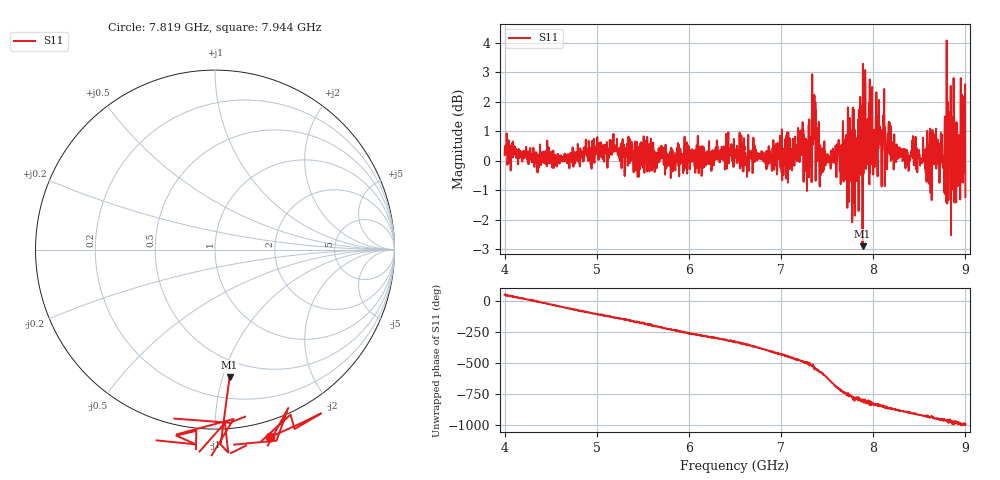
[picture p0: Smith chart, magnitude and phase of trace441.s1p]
! Created with skrf 1.8.0 (http://scikit-rf.org).
# Hz S RI R 50.0
!freq ReS11 ImS11
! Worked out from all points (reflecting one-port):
!   1601 points, 4 GHz to 9 GHz, reference 50 ohm
!   lowest |S11| = -2.9 dB at 7.884 GHz (marker M1), VSWR 6.04, Z = 18.1 - j52.7 ohm
!   phase of S11 starts at 53 deg and turns -1050 deg over the sweep
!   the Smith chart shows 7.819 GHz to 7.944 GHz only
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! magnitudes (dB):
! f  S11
! 4 GHz  0.2
! 4.625 GHz  0.0
! 5.25 GHz  0.0
! 5.875 GHz  0.3
! 6.5 GHz  0.1
! 7.125 GHz  -0.1
! 7.209 GHz  1.0
! 7.306 GHz  1.4
! 7.359 GHz  1.8
! 7.438 GHz  0.1
! 7.75 GHz  0.9
! 7.791 GHz  0.4
! 7.884 GHz  -2.9
! 7.912 GHz  3.1
! 7.944 GHz  1.4
! 8.05 GHz  1.5
! 8.066 GHz  0.6
! 8.375 GHz  0.2
! 8.441 GHz  -0.2
! 8.616 GHz  1.1
! 8.662 GHz  0.7
! 8.766 GHz  0.0
! 8.816 GHz  -1.3
! 8.825 GHz  1.2
! 8.869 GHz  -1.0
! 8.919 GHz  0.2
! 8.972 GHz  0.2
! 9 GHz  -1.2
